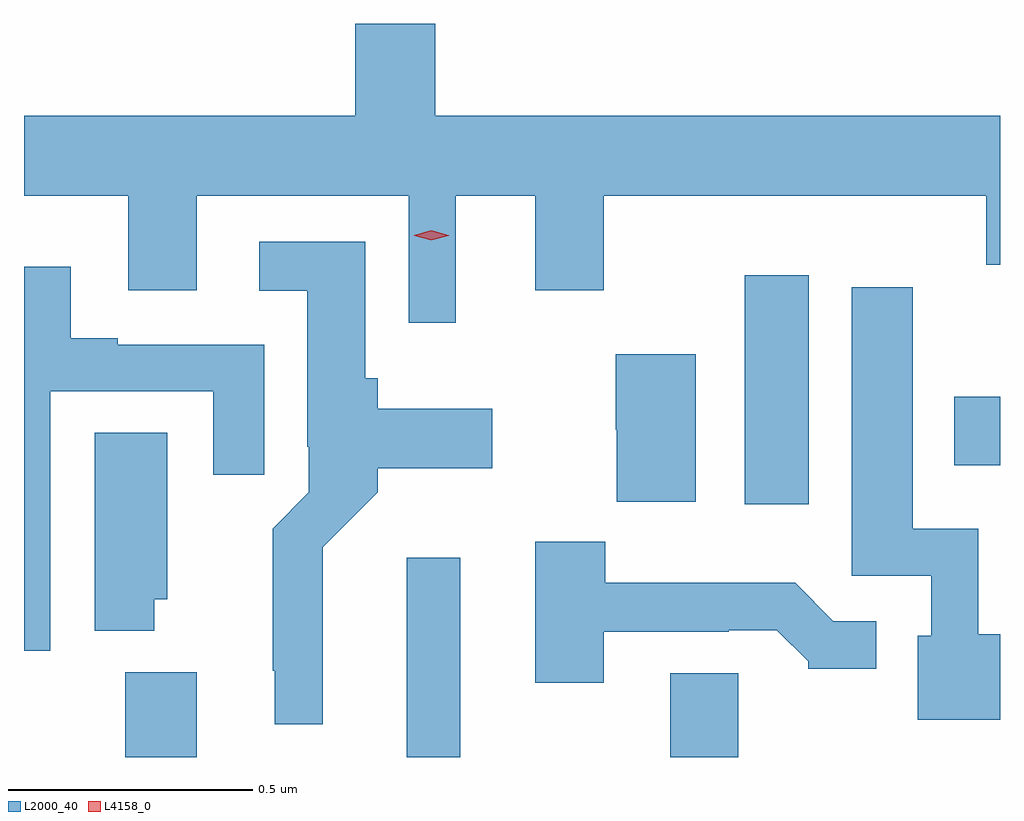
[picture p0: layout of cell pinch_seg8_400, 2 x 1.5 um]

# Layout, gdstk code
import gdstk
lib = gdstk.Library(unit=1e-6, precision=1e-09)
def R(c, l, rs):  # rectangles x0, y0, x1, y1
    for r in rs: c.add(gdstk.rectangle(r[:2], r[2:], *l))
def P(c, l, *ps):  # polygons
    for p in ps: c.add(gdstk.Polygon(p, *l))
L2000_40 = (2000, 40)
L4158_0 = (4158, 0)

pinch_seg8_400 = lib.new_cell('pinch_seg8_400')
R(pinch_seg8_400, L2000_40, [(584.116,1090.041,584.263,1090.216), (584.693,1090.041,584.803,1090.45), (585.233,1090.041,585.373,1090.214), (585.386,1090.56,585.517,1091.029), (585.815,1090.64,585.909,1090.78)])
P(pinch_seg8_400, L2000_40, [(584.794,1091.192),(584.957,1091.192),(584.957,1090.998),(585.097,1090.998),(585.097,1091.192),(585.881,1091.192),(585.881,1091.051),(585.909,1091.051),(585.909,1091.356),(584.752,1091.356),(584.752,1091.545),(584.588,1091.545),(584.588,1091.356),(583.909,1091.356),(583.909,1091.192),(584.123,1091.192),(584.123,1090.998),(584.263,1090.998),(584.263,1091.192),(584.697,1091.192),(584.697,1090.932),(584.794,1090.932)],
  [(584.521,1090.472),(584.634,1090.585),(584.634,1090.634),(584.869,1090.634),(584.869,1090.756),(584.634,1090.756),(584.634,1090.818),(584.608,1090.818),(584.608,1091.098),(584.391,1091.098),(584.391,1090.997),(584.489,1090.997),(584.489,1090.678),(584.493,1090.678),(584.493,1090.584),(584.419,1090.51),(584.419,1090.219),(584.423,1090.219),(584.423,1090.109),(584.521,1090.109)],
  [(583.963,1090.791),(584.297,1090.791),(584.297,1090.62),(584.401,1090.62),(584.401,1090.887),(584.101,1090.887),(584.101,1090.9),(584.005,1090.9),(584.005,1091.047),(583.909,1091.047),(583.909,1090.26),(583.963,1090.26)],
  [(585.909,1090.294),(585.864,1090.294),(585.864,1090.51),(585.73,1090.51),(585.73,1091.005),(585.605,1091.005),(585.605,1090.413),(585.768,1090.413),(585.768,1090.29),(585.74,1090.29),(585.74,1090.118),(585.909,1090.118)],
  [(585.286,1090.867),(585.122,1090.867),(585.122,1090.713),(585.124,1090.713),(585.124,1090.565),(585.286,1090.565)],
  [(584.176,1090.365),(584.203,1090.365),(584.203,1090.706),(584.054,1090.706),(584.054,1090.301),(584.176,1090.301)],
  [(585.097,1090.299),(585.353,1090.299),(585.353,1090.302),(585.452,1090.302),(585.516,1090.238),(585.516,1090.223),(585.655,1090.223),(585.655,1090.32),(585.567,1090.32),(585.489,1090.399),(585.1,1090.399),(585.1,1090.483),(584.957,1090.483),(584.957,1090.194),(585.097,1090.194)])
P(pinch_seg8_400, L4158_0, [(584.744,1091.101),(584.709,1091.11),(584.709,1091.111),(584.709,1091.111),(584.744,1091.121),(584.779,1091.111),(584.779,1091.111),(584.779,1091.11)])

lib.write_gds('pinch_seg8_400.gds')
